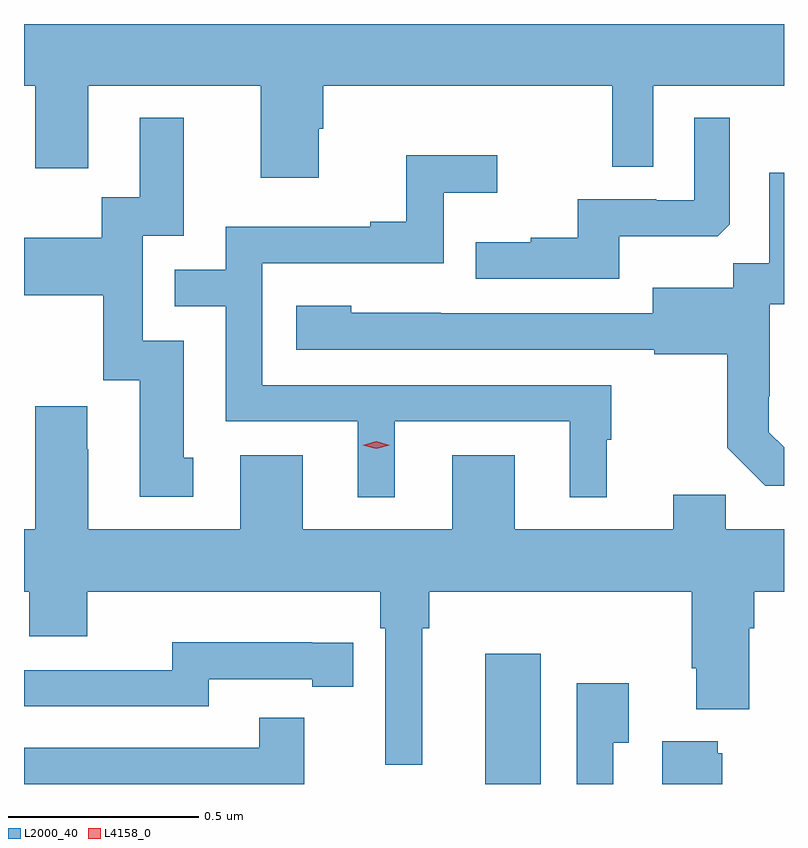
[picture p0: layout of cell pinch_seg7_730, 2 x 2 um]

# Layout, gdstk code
import gdstk
lib = gdstk.Library(unit=1e-6, precision=1e-09)
def R(c, l, rs):  # rectangles x0, y0, x1, y1
    for r in rs: c.add(gdstk.rectangle(r[:2], r[2:], *l))
def P(c, l, *ps):  # polygons
    for p in ps: c.add(gdstk.Polygon(p, *l))
L2000_40 = (2000, 40)
L4158_0 = (4158, 0)

pinch_seg7_730 = lib.new_cell('pinch_seg7_730')
R(pinch_seg7_730, L2000_40, [(302.978,1036.074,303.124,1036.417)])
P(pinch_seg7_730, L2000_40, [(302.539,1037.799),(302.552,1037.799),(302.552,1037.912),(303.312,1037.912),(303.312,1037.698),(303.42,1037.698),(303.42,1037.912),(303.764,1037.912),(303.764,1038.074),(301.764,1038.074),(301.764,1037.912),(301.793,1037.912),(301.793,1037.694),(301.933,1037.694),(301.933,1037.912),(302.387,1037.912),(302.387,1037.67),(302.539,1037.67)],
  [(302.209,1036.932),(302.185,1036.932),(302.185,1037.241),(302.076,1037.241),(302.076,1037.517),(302.185,1037.517),(302.185,1037.827),(302.069,1037.827),(302.069,1037.618),(301.968,1037.618),(301.968,1037.512),(301.764,1037.512),(301.764,1037.36),(301.973,1037.36),(301.973,1037.136),(302.069,1037.136),(302.069,1036.83),(302.209,1036.83)],
  [(303.331,1037.516),(303.589,1037.516),(303.621,1037.547),(303.621,1037.827),(303.528,1037.827),(303.528,1037.61),(303.428,1037.61),(303.428,1037.613),(303.221,1037.613),(303.221,1037.512),(303.097,1037.512),(303.097,1037.5),(302.953,1037.5),(302.953,1037.403),(303.331,1037.403)],
  [(302.74,1037.028),(303.2,1037.028),(303.2,1036.829),(303.298,1036.829),(303.298,1036.98),(303.31,1036.98),(303.31,1037.124),(302.391,1037.124),(302.391,1037.445),(302.868,1037.445),(302.868,1037.63),(303.01,1037.63),(303.01,1037.728),(302.77,1037.728),(302.77,1037.554),(302.675,1037.554),(302.675,1037.541),(302.295,1037.541),(302.295,1037.427),(302.161,1037.427),(302.161,1037.331),(302.295,1037.331),(302.295,1037.028),(302.642,1037.028),(302.642,1036.829),(302.74,1036.829)],
  [(303.764,1036.96),(303.724,1037),(303.724,1037.095),(303.726,1037.095),(303.726,1037.336),(303.764,1037.336),(303.764,1037.683),(303.725,1037.683),(303.725,1037.444),(303.63,1037.444),(303.63,1037.38),(303.419,1037.38),(303.419,1037.313),(302.861,1037.313),(302.861,1037.314),(302.625,1037.314),(302.625,1037.332),(302.481,1037.332),(302.481,1037.217),(303.423,1037.217),(303.423,1037.205),(303.615,1037.205),(303.615,1036.959),(303.715,1036.859),(303.764,1036.859)],
  [(302.812,1036.484),(302.831,1036.484),(302.831,1036.58),(303.521,1036.58),(303.521,1036.378),(303.533,1036.378),(303.533,1036.271),(303.673,1036.271),(303.673,1036.484),(303.686,1036.484),(303.686,1036.58),(303.764,1036.58),(303.764,1036.744),(303.611,1036.744),(303.611,1036.835),(303.473,1036.835),(303.473,1036.744),(303.055,1036.744),(303.055,1036.939),(302.891,1036.939),(302.891,1036.744),(302.497,1036.744),(302.497,1036.939),(302.333,1036.939),(302.333,1036.744),(301.933,1036.744),(301.933,1036.955),(301.93,1036.955),(301.93,1037.068),(301.793,1037.068),(301.793,1036.744),(301.764,1036.744),(301.764,1036.58),(301.778,1036.58),(301.778,1036.463),(301.93,1036.463),(301.93,1036.58),(302.702,1036.58),(302.702,1036.484),(302.715,1036.484),(302.715,1036.125),(302.812,1036.125)],
  [(302.25,1036.35),(302.522,1036.35),(302.522,1036.33),(302.63,1036.33),(302.63,1036.446),(302.522,1036.446),(302.522,1036.447),(302.154,1036.447),(302.154,1036.374),(301.764,1036.374),(301.764,1036.278),(302.25,1036.278)],
  [(303.315,1036.183),(303.355,1036.183),(303.355,1036.339),(303.219,1036.339),(303.219,1036.074),(303.315,1036.074)],
  [(302.501,1036.249),(302.383,1036.249),(302.383,1036.17),(301.764,1036.17),(301.764,1036.074),(302.501,1036.074)],
  [(303.601,1036.155),(303.59,1036.155),(303.59,1036.186),(303.443,1036.186),(303.443,1036.074),(303.601,1036.074)])
P(pinch_seg7_730, L4158_0, [(302.691,1036.956),(302.655,1036.966),(302.655,1036.966),(302.655,1036.966),(302.691,1036.976),(302.727,1036.966),(302.727,1036.966),(302.727,1036.966)])

lib.write_gds('pinch_seg7_730.gds')
